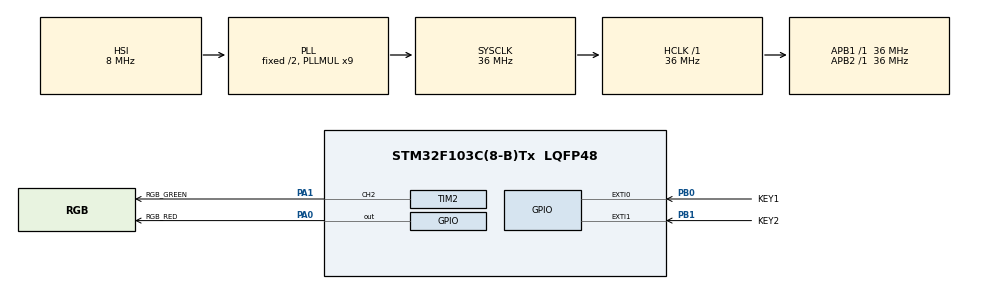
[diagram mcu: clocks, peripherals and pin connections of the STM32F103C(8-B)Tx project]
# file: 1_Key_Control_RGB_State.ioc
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Mcu.Family=STM32F1
Mcu.Name=STM32F103C(8-B)Tx
Mcu.Package=LQFP48
NVIC.EXTI0_IRQn=true\:2\:0\:true\:false\:true\:true\:true\:true
NVIC.EXTI1_IRQn=true\:1\:0\:true\:false\:true\:true\:true\:true
NVIC.PriorityGroup=NVIC_PRIORITYGROUP_4
NVIC.TIM2_IRQn=true\:3\:0\:true\:false\:true\:true\:true\:true
PA0-WKUP.GPIO_Label=RGB_RED
PA0-WKUP.Signal=GPIO_Output
PA1.GPIO_Label=RGB_GREEN
PA1.Signal=S_TIM2_CH2
PA13.Mode=Serial_Wire
PA13.Signal=SYS_JTMS-SWDIO
PA14.Mode=Serial_Wire
PA14.Signal=SYS_JTCK-SWCLK
PB0.GPIO_Label=KEY1
PB0.GPIO_ModeDefaultEXTI=GPIO_MODE_IT_FALLING
PB0.GPIO_PuPd=GPIO_PULLUP
PB0.Signal=GPXTI0
PB1.GPIO_Label=KEY2
PB1.GPIO_ModeDefaultEXTI=GPIO_MODE_IT_RISING_FALLING
PB1.GPIO_PuPd=GPIO_PULLUP
PB1.Signal=GPXTI1
PD0-OSC_IN.Mode=HSE-External-Oscillator
PD0-OSC_IN.Signal=RCC_OSC_IN
PD1-OSC_OUT.Mode=HSE-External-Oscillator
PD1-OSC_OUT.Signal=RCC_OSC_OUT
ProjectManager.HeapSize=0x200
ProjectManager.StackSize=0x400
ProjectManager.TargetToolchain=CMake
RCC.AHBFreq_Value=36000000
RCC.APB1Freq_Value=36000000
RCC.APB1TimFreq_Value=36000000
RCC.APB2Freq_Value=36000000
RCC.APB2TimFreq_Value=36000000
RCC.HCLKFreq_Value=36000000
RCC.PLLMUL=RCC_PLL_MUL9
RCC.SYSCLKFreq_VALUE=36000000
RCC.SYSCLKSource=RCC_SYSCLKSOURCE_PLLCLK
RCC.USBFreq_Value=36000000
SH.S_TIM2_CH2.0=TIM2_CH2,PWM Generation2 CH2
TIM2.AutoReloadPreload=TIM_AUTORELOAD_PRELOAD_ENABLE
TIM2.Channel-PWM\ Generation2\ CH2=TIM_CHANNEL_2
TIM2.Period=999
TIM2.Prescaler=71
VP_TIM2_VS_ClockSourceINT.Mode=Internal
board=custom

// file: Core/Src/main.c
#include "main.h"

/* USER CODE BEGIN Includes */
#include "rgb_control.h"
/* USER CODE END Includes */

TIM_HandleTypeDef htim2;

/* USER CODE BEGIN PV */
/*
 * 按键标志变量（中断与主循环共享，需加 volatile 防止编译器优化）
 * key1_press_flag : KEY1按下标志，EXTI0下降沿中断中置1，主循环处理后清0
 * key1_press_tick : KEY1按下时的时间戳（单位：ms），用于记录按下时刻
 * key2_event_flag : KEY2事件标志，1=按下（下降沿），2=松开（上升沿），主循环处理后清0
 */
volatile uint32_t key1_press_tick = 0;
volatile uint8_t  key1_press_flag = 0;
volatile uint8_t  key2_event_flag = 0;

/* KEY2按住状态标志（在 rgb_control.c 中定义）*/
extern volatile uint8_t key2_is_pressed;

/* 调试用指针：方便在线调试器中观察其他文件的全局变量 */
volatile RGB_State_t* debug_current_state = &current_rgb_state;
volatile uint8_t* debug_breathe_enabled = &breathe_enabled;
/* USER CODE END PV */

void SystemClock_Config(void);
static void MX_GPIO_Init(void);
static void MX_TIM2_Init(void);
/* USER CODE BEGIN PFP */
static void Process_Keys(void);
/* USER CODE END PFP */

/* USER CODE BEGIN 0 */
//修改
/* USER CODE END 0 */

int main(void)
{

  HAL_Init();

  SystemClock_Config();

  MX_GPIO_Init();
  MX_TIM2_Init();

  /* USER CODE BEGIN 2 */
  RGB_Init();

  /* 设置初始状态：绿灯常亮 */
  RGB_Set_State(RGB_STATE_GREEN_ON);
  /* USER CODE END 2 */

  /* Infinite loop */
  while (1)
  {

    /*
     * 主循环任务调度
     * 1. Process_Keys()   : 按键事件处理（含软件消抖 + 状态切换逻辑）
     * 2. RGB_Breathe_Task(): 呼吸灯PWM占空比更新（仅呼吸模式下生效）
     * 3. HAL_Delay(5)     : 5ms 延时，控制主循环频率约200Hz
     */
    Process_Keys();
    RGB_Breathe_Task();
    HAL_Delay(5);

  }
}

void SystemClock_Config(void)
{
  RCC_OscInitTypeDef RCC_OscInitStruct = {0};
  RCC_ClkInitTypeDef RCC_ClkInitStruct = {0};

  RCC_OscInitStruct.OscillatorType = RCC_OSCILLATORTYPE_HSI;
  RCC_OscInitStruct.HSIState = RCC_HSI_ON;
  RCC_OscInitStruct.HSICalibrationValue = RCC_HSICALIBRATION_DEFAULT;
  RCC_OscInitStruct.PLL.PLLState = RCC_PLL_ON;
  RCC_OscInitStruct.PLL.PLLSource = RCC_PLLSOURCE_HSI_DIV2;
  RCC_OscInitStruct.PLL.PLLMUL = RCC_PLL_MUL9;
  if (HAL_RCC_OscConfig(&RCC_OscInitStruct) != HAL_OK)
  {
    Error_Handler();
  }

  RCC_ClkInitStruct.ClockType = RCC_CLOCKTYPE_HCLK|RCC_CLOCKTYPE_SYSCLK
                              |RCC_CLOCKTYPE_PCLK1|RCC_CLOCKTYPE_PCLK2;
  RCC_ClkInitStruct.SYSCLKSource = RCC_SYSCLKSOURCE_PLLCLK;
  RCC_ClkInitStruct.AHBCLKDivider = RCC_SYSCLK_DIV1;
  RCC_ClkInitStruct.APB1CLKDivider = RCC_HCLK_DIV1;
  RCC_ClkInitStruct.APB2CLKDivider = RCC_HCLK_DIV1;

  if (HAL_RCC_ClockConfig(&RCC_ClkInitStruct, FLASH_LATENCY_1) != HAL_OK)
  {
    Error_Handler();
  }
}

static void MX_TIM2_Init(void)
{
  TIM_ClockConfigTypeDef sClockSourceConfig = {0};
  TIM_MasterConfigTypeDef sMasterConfig = {0};
  TIM_OC_InitTypeDef sConfigOC = {0};

  htim2.Instance = TIM2;
  htim2.Init.Prescaler = 71;
  htim2.Init.CounterMode = TIM_COUNTERMODE_UP;
  htim2.Init.Period = 999;
  htim2.Init.ClockDivision = TIM_CLOCKDIVISION_DIV1;
  htim2.Init.AutoReloadPreload = TIM_AUTORELOAD_PRELOAD_ENABLE;
  if (HAL_TIM_Base_Init(&htim2) != HAL_OK)
  {
    Error_Handler();
  }
  sClockSourceConfig.ClockSource = TIM_CLOCKSOURCE_INTERNAL;
  if (HAL_TIM_ConfigClockSource(&htim2, &sClockSourceConfig) != HAL_OK)
  {
    Error_Handler();
  }
  if (HAL_TIM_PWM_Init(&htim2) != HAL_OK)
  {
    Error_Handler();
  }
  sMasterConfig.MasterOutputTrigger = TIM_TRGO_RESET;
  sMasterConfig.MasterSlaveMode = TIM_MASTERSLAVEMODE_DISABLE;
  if (HAL_TIMEx_MasterConfigSynchronization(&htim2, &sMasterConfig) != HAL_OK)
  {
    Error_Handler();
  }
  sConfigOC.OCMode = TIM_OCMODE_PWM1;
  sConfigOC.Pulse = 0;
  sConfigOC.OCPolarity = TIM_OCPOLARITY_HIGH;
  sConfigOC.OCFastMode = TIM_OCFAST_DISABLE;
  if (HAL_TIM_PWM_ConfigChannel(&htim2, &sConfigOC, TIM_CHANNEL_2) != HAL_OK)
  {
    Error_Handler();
  }
  HAL_TIM_MspPostInit(&htim2);
}

static void MX_GPIO_Init(void)
{
  GPIO_InitTypeDef GPIO_InitStruct = {0};

  /* GPIO Ports Clock Enable */
  __HAL_RCC_GPIOD_CLK_ENABLE();
  __HAL_RCC_GPIOA_CLK_ENABLE();
  __HAL_RCC_GPIOB_CLK_ENABLE();

  /* Configure GPIO pin Output Level */
  HAL_GPIO_WritePin(RGB_RED_GPIO_Port, RGB_RED_Pin, GPIO_PIN_RESET);

  /* Configure GPIO pin : RGB_RED_Pin */
  GPIO_InitStruct.Pin = RGB_RED_Pin;
  GPIO_InitStruct.Mode = GPIO_MODE_OUTPUT_PP;
  GPIO_InitStruct.Pull = GPIO_NOPULL;
  GPIO_InitStruct.Speed = GPIO_SPEED_FREQ_LOW;
  HAL_GPIO_Init(RGB_RED_GPIO_Port, &GPIO_InitStruct);

  /* Configure GPIO pin : KEY1_Pin */
  GPIO_InitStruct.Pin = KEY1_Pin;
  GPIO_InitStruct.Mode = GPIO_MODE_IT_FALLING;
  GPIO_InitStruct.Pull = GPIO_PULLUP;
  HAL_GPIO_Init(KEY1_GPIO_Port, &GPIO_InitStruct);

  /* Configure GPIO pin : KEY2_Pin */
  GPIO_InitStruct.Pin = KEY2_Pin;
  GPIO_InitStruct.Mode = GPIO_MODE_IT_RISING_FALLING;
  GPIO_InitStruct.Pull = GPIO_PULLUP;
  HAL_GPIO_Init(KEY2_GPIO_Port, &GPIO_InitStruct);

  /* EXTI interrupt init*/
  HAL_NVIC_SetPriority(EXTI0_IRQn, 2, 0);
  HAL_NVIC_EnableIRQ(EXTI0_IRQn);

  HAL_NVIC_SetPriority(EXTI1_IRQn, 1, 0);
  HAL_NVIC_EnableIRQ(EXTI1_IRQn);
}

/* USER CODE BEGIN 4 */
/**
  * @brief  按键事件处理函数（主循环中周期调用）
  *
  * 软件消抖机制（双层防护）：
  *   第一层：EXTI中断中 50ms 窗口，过滤机械抖动产生的多次中断
  *   第二层：本函数中 100~200ms 窗口，防止快速连按或回弹导致状态跳变
  *
  * 按键功能：
  *   KEY1 : 短按循环切换 RGB 状态（绿常亮 → 红常亮 → 绿呼吸 → 绿常亮...）
  *          KEY2按住时 KEY1 无效
  *   KEY2 : 按住期间强制绿灯常亮，松开后恢复之前的状态
  *
  * 关键变量：
  *   key1_press_flag : KEY1按下标志（EXTI0中断置1，此处处理后清0）
  *   key2_event_flag : KEY2事件标志（1=按下，2=松开；EXTI1中断置位，此处处理后清0）
  *   last_key1_time  : KEY1上次有效触发时间戳（第二层消抖基准）
  *   last_key2_time  : KEY2上次有效触发时间戳（第二层消抖基准）
  */
static void Process_Keys(void)
{
    /* 上次有效触发时间戳（static 保留上次调用的值）*/
    static uint32_t last_key1_time = 0;
    static uint32_t last_key2_time = 0;
    uint32_t now = HAL_GetTick();

    /* ---------- KEY1 处理：短按切换状态 ---------- */
    if (key1_press_flag && !key2_is_pressed)
    {
        key1_press_flag = 0;

        /* 第二层消抖：距上次有效触发不足 200ms 则忽略 */
        if ((now - last_key1_time) > 200)
        {
            last_key1_time = now;

            /* 状态循环切换：绿常亮 → 红常亮 → 绿呼吸 → 绿常亮 */
            RGB_State_t new_state;
            switch (current_rgb_state) {
                case RGB_STATE_GREEN_ON:
                    new_state = RGB_STATE_RED_ON;
                    break;
                case RGB_STATE_RED_ON:
                    new_state = RGB_STATE_GREEN_BREATHE;
                    break;
                case RGB_STATE_GREEN_BREATHE:
                    new_state = RGB_STATE_GREEN_ON;
                    break;
                default:
                    new_state = RGB_STATE_GREEN_ON;
                    break;
            }
            RGB_Set_State(new_state);
        }
    }

    /* ---------- KEY2 处理：长按强制绿灯 ---------- */
    if (key2_event_flag)
    {
        /* 第二层消抖：距上次状态变化不足 100ms 则忽略 */
        if ((now - last_key2_time) > 100)
        {
            last_key2_time = now;

            if (key2_event_flag == 1)          /* 按下：保存当前状态，强制绿灯 */
            {
                key2_event_flag = 0;
                key2_is_pressed = 1;
                RGB_Force_Green_On();
            }
            else if (key2_event_flag == 2)     /* 松开：恢复保存的状态 */
            {
                key2_event_flag = 0;
                key2_is_pressed = 0;
                RGB_Restore_State();
            }
        }
        else
        {
            key2_event_flag = 0;               /* 抖动事件，直接丢弃 */
        }
    }
}
/* USER CODE END 4 */

void Error_Handler(void)
{
  __disable_irq();
  while (1)
  {
  }
}
